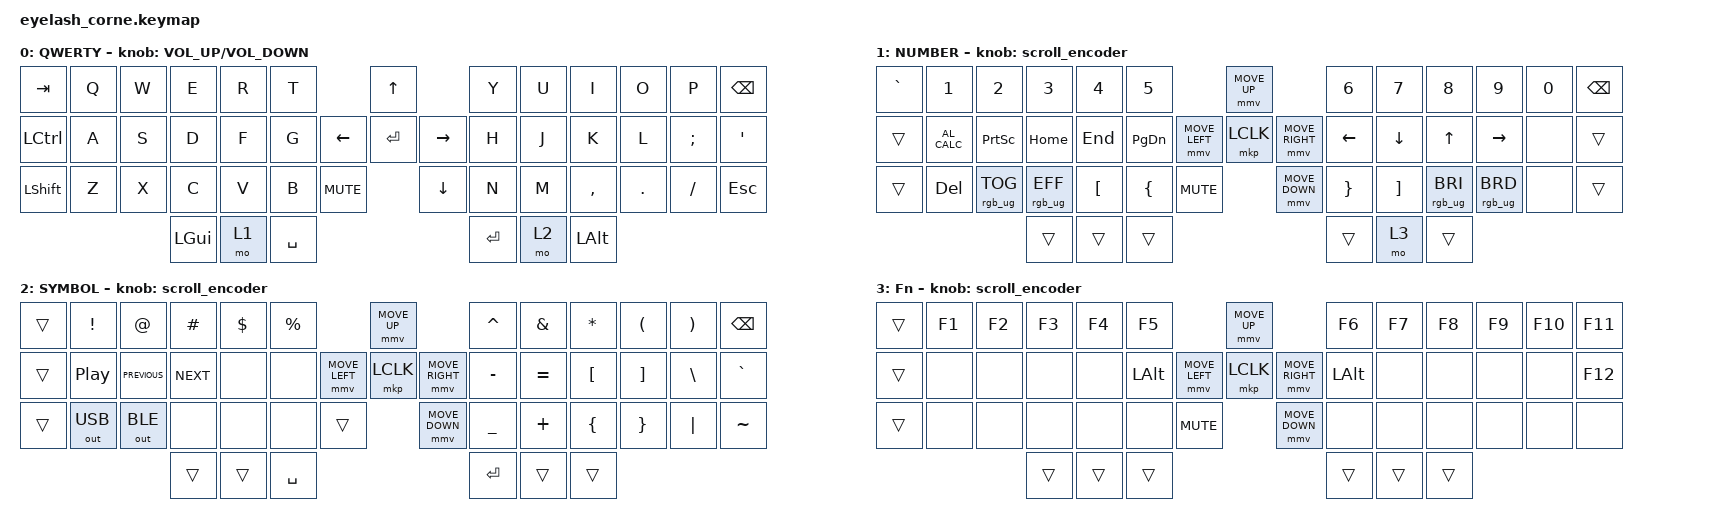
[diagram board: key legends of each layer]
#define ZMK_POINTING_DEFAULT_MOVE_VAL 1200  // 600
#define ZMK_POINTING_DEFAULT_SCRL_VAL 25   // 10

#include <input/processors.dtsi>
#include <zephyr/dt-bindings/input/input-event-codes.h>
#include <behaviors.dtsi>
#include <dt-bindings/zmk/keys.h>
#include <dt-bindings/zmk/outputs.h>
#include <dt-bindings/zmk/pointing.h>
#include <dt-bindings/zmk/rgb.h>

&mmv_input_listener { input-processors = <&zip_xy_scaler 2 1>; };

&msc_input_listener { input-processors = <&zip_scroll_scaler 2 1>; };

&msc {
    acceleration-exponent = <1>;      // 0
    time-to-max-speed-ms = <100>;       // 300
    delay-ms = <0>;                   // 0
};

&mmv {
    time-to-max-speed-ms = <500>;
    acceleration-exponent = <1>;
    trigger-period-ms = <16>;
};

&soft_off { hold-time-ms = <2000>; };

/ {
    behaviors {
        td0: td0 {
            compatible = "zmk,behavior-tap-dance";
            display-name = "Shift/Caps Lock Tap Dance";
            #binding-cells = <0>;
            bindings = <&kp LEFT_SHIFT>, <&kp CAPS>;
        };
    };

    rgb_encoder: rgb_encoder {
        compatible = "zmk,behavior-sensor-rotate";
        #sensor-binding-cells = <0>;
        bindings = <&rgb_ug RGB_BRI>, <&rgb_ug RGB_BRD>;
    };

    scroll_encoder: scroll_encoder {
        compatible = "zmk,behavior-sensor-rotate";
        #sensor-binding-cells = <0>;
        bindings = <&msc SCRL_DOWN>, <&msc SCRL_UP>;

        tap-ms = <100>;
    };

    combos {
        compatible = "zmk,combos";

        plus {
            bindings = <&kp PLUS>;
            key-positions = <16 17>;
        };

        minus {
            bindings = <&kp MINUS>;
            key-positions = <23 24>;
        };

        parenthL {
            bindings = <&kp LEFT_PARENTHESIS>;
            key-positions = <32 33>;
        };

        parenthR {
            bindings = <&kp RIGHT_PARENTHESIS>;
            key-positions = <36 37>;
        };
    };

    keymap {
        compatible = "zmk,keymap";

        default_layer {
            display-name = "QWERTY";
            bindings = <
&kp TAB         &kp Q  &kp W  &kp E     &kp R  &kp T                              &kp UP                &kp Y      &kp U  &kp I         &kp O    &kp P     &kp BSPC
&kp LCTRL       &kp A  &kp S  &kp D     &kp F  &kp G                    &kp LEFT  &kp ENTER  &kp RIGHT  &kp H      &kp J  &kp K         &kp L    &kp SEMI  &kp SQT
&kp LEFT_SHIFT  &kp Z  &kp X  &kp C     &kp V  &kp B      &kp C_MUTE              &kp DOWN              &kp N      &kp M  &kp COMMA     &kp DOT  &kp FSLH  &kp ESC
                              &kp LGUI  &mo 1  &kp SPACE                                                &kp ENTER  &mo 2  &kp LEFT_ALT
            >;

            sensor-bindings = <&inc_dec_kp C_VOLUME_UP C_VOLUME_DOWN>;
        };

        lower_layer {
            display-name = "NUMBER";
            bindings = <
&kp GRAVE  &kp N1         &kp N2           &kp N3           &kp N4            &kp N5                                        &mmv MOVE_UP                     &kp N6           &kp N7             &kp N8           &kp N9           &kp N0  &kp BSPC
&trans     &kp C_AL_CALC  &kp PRINTSCREEN  &kp HOME         &kp END           &kp PAGE_DOWN                 &mmv MOVE_LEFT  &mkp LCLK       &mmv MOVE_RIGHT  &kp LEFT         &kp DOWN           &kp UP           &kp RIGHT        &none   &trans
&trans     &kp DELETE     &rgb_ug RGB_TOG  &rgb_ug RGB_EFF  &kp LEFT_BRACKET  &kp LEFT_BRACE  &kp C_MUTE                    &mmv MOVE_DOWN                   &kp RIGHT_BRACE  &kp RIGHT_BRACKET  &rgb_ug RGB_BRI  &rgb_ug RGB_BRD  &none   &trans
                                           &trans           &trans            &trans                                                                         &trans           &mo 3              &trans
            >;

            sensor-bindings = <&scroll_encoder>;
        };

        raise_layer {
            display-name = "SYMBOL";
            bindings = <
&trans  &kp EXCL          &kp AT          &kp HASH    &kp DLLR  &kp PRCNT                            &mmv MOVE_UP                     &kp CARET  &kp AMPS   &kp ASTRK  &kp LPAR  &kp RPAR  &kp BSPC
&trans  &kp C_PLAY_PAUSE  &kp C_PREVIOUS  &kp C_NEXT  &none     &none                &mmv MOVE_LEFT  &mkp LCLK       &mmv MOVE_RIGHT  &kp MINUS  &kp EQUAL  &kp LBKT   &kp RBKT  &kp BSLH  &kp GRAVE
&trans  &out OUT_USB      &out OUT_BLE    &none       &none     &none      &trans                    &mmv MOVE_DOWN                   &kp UNDER  &kp PLUS   &kp LBRC   &kp RBRC  &kp PIPE  &kp TILDE
                                          &trans      &trans    &kp SPACE                                                             &kp RET    &trans     &trans
            >;

            sensor-bindings = <&scroll_encoder>;
        };

        layer_3 {
            display-name = "Fn";
            bindings = <
&trans  &kp F1  &kp F2  &kp F3  &kp F4  &kp F5                                      &mmv MOVE_UP                     &kp F6        &kp F7  &kp F8  &kp F9  &kp F10  &kp F11
&trans  &none   &none   &none   &none   &kp LEFT_ALT                &mmv MOVE_LEFT  &mkp LCLK       &mmv MOVE_RIGHT  &kp LEFT_ALT  &none   &none   &none   &none    &kp F12
&trans  &none   &none   &none   &none   &none         &kp C_MUTE                    &mmv MOVE_DOWN                   &none         &none   &none   &none   &none    &none
                        &trans  &trans  &trans                                                                       &trans        &trans  &trans
            >;

            sensor-bindings = <&scroll_encoder>;
        };
    };
};
